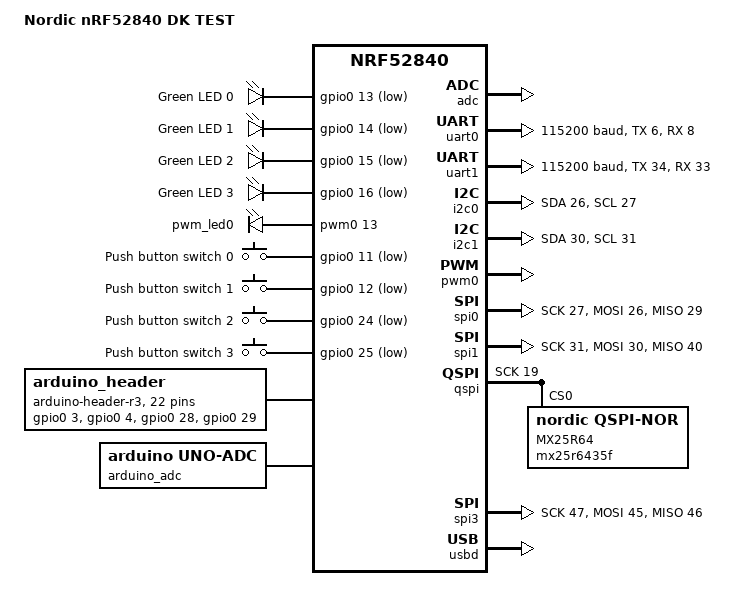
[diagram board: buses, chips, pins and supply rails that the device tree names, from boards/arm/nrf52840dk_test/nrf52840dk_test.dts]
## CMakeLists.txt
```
# SPDX-License-Identifier: Apache-2.0

cmake_minimum_required(VERSION 3.13.1)

list(APPEND BOARD_ROOT ${CMAKE_CURRENT_SOURCE_DIR})
list (APPEND DTS_ROOT ${CMAKE_CURRENT_SOURCE_DIR})
list (APPEND SOC_ROOT ${CMAKE_CURRENT_SOURCE_DIR})

find_package(Zephyr REQUIRED HINTS $ENV{ZEPHYR_BASE})
project(hello_world)

target_sources(app PRIVATE src/main.c)
```

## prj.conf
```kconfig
#copy from the at_client example here


# General config
CONFIG_ASSERT=y
CONFIG_SERIAL=y
```

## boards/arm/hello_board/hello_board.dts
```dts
/*
 * Copyright (c) 2018-2020 Nordic Semiconductor ASA
 *
 * SPDX-License-Identifier: Apache-2.0
 */

/dts-v1/;
#include <nordic/nrf9160_sica.dtsi>
#include "hello_board_common.dts"

/ {
	chosen {
		zephyr,sram = &sram0_s;
		zephyr,flash = &flash0;
		zephyr,code-partition = &slot0_partition;
		zephyr,sram-secure-partition = &sram0_s;
		zephyr,sram-non-secure-partition = &sram0_ns;
	};
};
```

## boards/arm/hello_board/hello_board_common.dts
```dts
/*
 * Copyright (c) 2018-2020 Nordic Semiconductor ASA
 *
 * SPDX-License-Identifier: Apache-2.0
 */

/ {
	model = "Nordic nRF9160 DK NRF9160";
	compatible = "nordic,hello_board";

	chosen {
		zephyr,console = &uart0;
		zephyr,shell-uart = &uart0;
		zephyr,uart-mcumgr = &uart0;
	};

	leds {
		compatible = "gpio-leds";
		led0: led_0 {
			gpios = <&gpio0 2 0>;
			label = "Green LED 1";
		};
		led1: led_1 {
			gpios = <&gpio0 3 0>;
			label = "Green LED 2";
		};
		led2: led_2 {
			gpios = <&gpio0 4 0>;
			label = "Green LED 3";
		};
		led3: led_3 {
			gpios = <&gpio0 5 0>;
			label = "Green LED 4";
		};
	};

	pwmleds {
		compatible = "pwm-leds";
		pwm_led0: pwm_led_0 {
			pwms = <&pwm0 2>;
		};
	};

	buttons {
		compatible = "gpio-keys";
		button0: button_0 {
			gpios = <&gpio0 8 (GPIO_PULL_UP | GPIO_ACTIVE_LOW)>;
			label = "Switch 1";
		};
		button1: button_1 {
			gpios = <&gpio0 9 (GPIO_PULL_UP | GPIO_ACTIVE_LOW)>;
			label = "Switch 2";
		};
		button2: button_2 {
			gpios = <&gpio0 6 (GPIO_PULL_UP | GPIO_ACTIVE_LOW)>;
			label = "Push button 1";
		};
		button3: button_3 {
			gpios = <&gpio0 7 (GPIO_PULL_UP | GPIO_ACTIVE_LOW)>;
			label = "Push button 2";
		};
	};

	/* These aliases are provided for compatibility with samples */
	aliases {
		led0 = &led0;
		led1 = &led1;
		led2 = &led2;
		led3 = &led3;
		pwm-led0 = &pwm_led0;
		sw0 = &button2;
		sw1 = &button3;
		sw2 = &button0;
		sw3 = &button1;
	};
};

&adc {
	status = "okay";
};

&gpiote {
	status = "okay";
};

&gpio0 {
	status = "okay";
};

&uart0 {
	status = "okay";
	current-speed = <115200>;
	tx-pin = <1>;
	rx-pin = <0>;
	rts-pin = <27>;
	cts-pin = <26>;
};

&uart1 {
	status = "okay";
	current-speed = <115200>;
	tx-pin = <29>;
	rx-pin = <28>;
	rts-pin = <14>;
	cts-pin = <15>;
};

&uart2 {
	tx-pin = <24>;
	rx-pin = <23>;
};

&i2c2 {
	compatible = "nordic,nrf-twim";
	status = "okay";
	sda-pin = <30>;
	scl-pin = <31>;
};

&pwm0 {
	status = "okay";
	ch0-pin = <2>;
};

&spi3 {
	compatible = "nordic,nrf-spim";
	status = "okay";
	sck-pin = <19>;
	mosi-pin = <18>;
	miso-pin = <17>;
};

&timer0 {
	status = "okay";
};

&timer1 {
	status = "okay";
};

&timer2 {
	status = "okay";
};

&flash0 {
	/*
	 * For more information, see:
	 * https://docs.zephyrproject.org/latest/guides/dts/legacy-macros.html#legacy-flash-partitions
	 */
	partitions {
		compatible = "fixed-partitions";
		#address-cells = <1>;
		#size-cells = <1>;

		boot_partition: partition@0 {
			label = "mcuboot";
			reg = <0x00000000 0x10000>;
		};
		slot0_partition: partition@10000 {
			label = "image-0";
		};
		slot0_ns_partition: partition@50000 {
			label = "image-0-nonsecure";
		};
		slot1_partition: partition@80000 {
			label = "image-1";
		};
		slot1_ns_partition: partition@c0000 {
			label = "image-1-nonsecure";
		};
		scratch_partition: partition@f0000 {
			label = "image-scratch";
			reg = <0x000f0000 0xa000>;
		};
		storage_partition: partition@fa000 {
			label = "storage";
			reg = <0x000fa000 0x00006000>;
		};
	};
};

/ {

	reserved-memory {
		#address-cells = <1>;
		#size-cells = <1>;
		ranges;

		sram0_s: image_s@20000000 {
			/* Secure image memory */
		};

		sram0_bsd: image_bsd@20010000 {
			/* BSD (shared) memory */
		};

		sram0_ns: image_ns@20020000 {
			/* Non-Secure image memory */
		};
	};
};

/* Include partition configuration file */
#include "hello_board_partition_conf.dts"
```

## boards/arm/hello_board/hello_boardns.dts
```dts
/*
 * Copyright (c) 2018-2020 Nordic Semiconductor ASA
 *
 * SPDX-License-Identifier: Apache-2.0
 */

/dts-v1/;
#include <nordic/nrf9160ns_sica.dtsi>
#include "hello_board_common.dts"

/ {
	chosen {
		zephyr,flash = &flash0;
		zephyr,sram = &sram0_ns;
		zephyr,code-partition = &slot0_ns_partition;
	};
};
```

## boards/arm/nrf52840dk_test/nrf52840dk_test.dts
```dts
/*
 * Copyright (c) 2017 Linaro Limited
 *
 * SPDX-License-Identifier: Apache-2.0
 */

/dts-v1/;
#include <nordic/nrf52840_qiaa.dtsi>

/ {
	model = "Nordic nRF52840 DK TEST";
	compatible = "nordic,nrf52840-dk-test";

	chosen {
		zephyr,console = &uart0;
		zephyr,shell-uart = &uart0;
		zephyr,uart-mcumgr = &uart0;
		zephyr,bt-mon-uart = &uart0;
		zephyr,bt-c2h-uart = &uart0;
		zephyr,sram = &sram0;
		zephyr,flash = &flash0;
		zephyr,code-partition = &slot0_partition;
	};

	leds {
		compatible = "gpio-outputs";
		led0: led_0 {
			gpios = <&gpio0 13 GPIO_ACTIVE_LOW>;
			label = "Green LED 0";
		};
		led1: led_1 {
			gpios = <&gpio0 14 GPIO_ACTIVE_LOW>;
			label = "Green LED 1";
		};
		led2: led_2 {
			gpios = <&gpio0 15 GPIO_ACTIVE_LOW>;
			label = "Green LED 2";
		};
		led3: led_3 {
			gpios = <&gpio0 16 GPIO_ACTIVE_LOW>;
			label = "Green LED 3";
		};
	};

	pwmleds {
		compatible = "pwm-leds";
		pwm_led0: pwm_led_0 {
			pwms = <&pwm0 13>;
		};
	};

	buttons {
		compatible = "gpio-keys";
		button0: button_0 {
			gpios = <&gpio0 11 (GPIO_PULL_UP | GPIO_ACTIVE_LOW)>;
			label = "Push button switch 0";
		};
		button1: button_1 {
			gpios = <&gpio0 12 (GPIO_PULL_UP | GPIO_ACTIVE_LOW)>;
			label = "Push button switch 1";
		};
		button2: button_2 {
			gpios = <&gpio0 24 (GPIO_PULL_UP | GPIO_ACTIVE_LOW)>;
			label = "Push button switch 2";
		};
		button3: button_3 {
			gpios = <&gpio0 25 (GPIO_PULL_UP | GPIO_ACTIVE_LOW)>;
			label = "Push button switch 3";
		};
	};

	arduino_header: connector {
		compatible = "arduino-header-r3";
		#gpio-cells = <2>;
		gpio-map-mask = <0xffffffff 0xffffffc0>;
		gpio-map-pass-thru = <0 0x3f>;
		gpio-map = <0 0 &gpio0 3 0>,	/* A0 */
			   <1 0 &gpio0 4 0>,	/* A1 */
			   <2 0 &gpio0 28 0>,	/* A2 */
			   <3 0 &gpio0 29 0>,	/* A3 */
			   <4 0 &gpio0 30 0>,	/* A4 */
			   <5 0 &gpio0 31 0>,	/* A5 */
			   <6 0 &gpio1 1 0>,	/* D0 */
			   <7 0 &gpio1 2 0>,	/* D1 */
			   <8 0 &gpio1 3 0>,	/* D2 */
			   <9 0 &gpio1 4 0>,	/* D3 */
			   <10 0 &gpio1 5 0>,	/* D4 */
			   <11 0 &gpio1 6 0>,	/* D5 */
			   <12 0 &gpio1 7 0>,	/* D6 */
			   <13 0 &gpio1 8 0>,	/* D7 */
			   <14 0 &gpio1 10 0>,	/* D8 */
			   <15 0 &gpio1 11 0>,	/* D9 */
			   <16 0 &gpio1 12 0>,	/* D10 */
			   <17 0 &gpio1 13 0>,	/* D11 */
			   <18 0 &gpio1 14 0>,	/* D12 */
			   <19 0 &gpio1 15 0>,	/* D13 */
			   <20 0 &gpio0 26 0>,	/* D14 */
			   <21 0 &gpio0 27 0>;	/* D15 */
	};

	arduino_adc: analog-connector {
		compatible = "arduino,uno-adc";
		#io-channel-cells = <1>;
		io-channel-map = <0 &adc 1>,	/* A0 = P0.3 = AIN1 */
				 <1 &adc 2>,	/* A1 = P0.4 = AIN2 */
				 <2 &adc 4>,	/* A2 = P0.28 = AIN4 */
				 <3 &adc 5>,	/* A3 = P0.29 = AIN5 */
				 <4 &adc 6>,	/* A4 = P0.30 = AIN6 */
				 <5 &adc 7>;	/* A5 = P0.31 = AIN7 */
	};

	/* These aliases are provided for compatibility with samples */
	aliases {
		led0 = &led0;
		led1 = &led1;
		led2 = &led2;
		led3 = &led3;
		pwm-led0 = &pwm_led0;
		sw0 = &button0;
		sw1 = &button1;
		sw2 = &button2;
		sw3 = &button3;
	};
};

&adc {
	status = "okay";
};

&gpiote {
	status = "okay";
};

&gpio0 {
	status = "okay";
};

&gpio1 {
	status = "okay";
};

&uart0 {
	compatible = "nordic,nrf-uarte";
	status = "okay";
	current-speed = <115200>;
	tx-pin = <6>;
	rx-pin = <8>;
	rts-pin = <5>;
	cts-pin = <7>;
};

arduino_serial: &uart1 {
	status = "okay";
	current-speed = <115200>;
	rx-pin = <33>;
	tx-pin = <34>;
};

arduino_i2c: &i2c0 {
	compatible = "nordic,nrf-twi";
	status = "okay";
	sda-pin = <26>;
	scl-pin = <27>;
};

&i2c1 {
	compatible = "nordic,nrf-twi";
	/* Cannot be used together with spi1. */
	/* status = "okay"; */
	sda-pin = <30>;
	scl-pin = <31>;
};

&pwm0 {
	status = "okay";
	ch0-pin = <13>;
	ch0-inverted;
};

&spi0 {
	compatible = "nordic,nrf-spi";
	/* Cannot be used together with i2c0. */
	/* status = "okay"; */
	sck-pin = <27>;
	mosi-pin = <26>;
	miso-pin = <29>;
};

&spi1 {
	compatible = "nordic,nrf-spi";
	status = "okay";
	sck-pin = <31>;
	mosi-pin = <30>;
	miso-pin = <40>;
};

&spi2 {
	compatible = "nordic,nrf-spi";
	status = "disabled";
	sck-pin = <19>;
	mosi-pin = <20>;
	miso-pin = <21>;
};

&qspi {
	status = "okay";
	sck-pin = <19>;
	io-pins = <20>, <21>, <22>, <23>;
	csn-pins = <17>;
	mx25r64: mx25r6435f@0 {
		compatible = "nordic,qspi-nor";
		reg = <0>;
		/* MX24R64 supports only pp and pp4io */
		writeoc = "pp4io";
		/* MX24R64 supports all readoc options */
		readoc = "read4io";
		sck-frequency = <8000000>;
		label = "MX25R64";
		jedec-id = [c2 28 17];
		sfdp-bfp = [
			e5 20 f1 ff  ff ff ff 03  44 eb 08 6b  08 3b 04 bb
			ee ff ff ff  ff ff 00 ff  ff ff 00 ff  0c 20 0f 52
			10 d8 00 ff  23 72 f5 00  82 ed 04 cc  44 83 68 44
			30 b0 30 b0  f7 c4 d5 5c  00 be 29 ff  f0 d0 ff ff
		];
		size = <67108864>;
		has-dpd;
		t-enter-dpd = <10000>;
		t-exit-dpd = <35000>;
	};
};

arduino_spi: &spi3 {
	status = "okay";
	sck-pin = <47>;
	miso-pin = <46>;
	mosi-pin = <45>;
	cs-gpios = <&arduino_header 16 GPIO_ACTIVE_LOW>; /* D10 */
};

&flash0 {

	partitions {
		compatible = "fixed-partitions";
		#address-cells = <1>;
		#size-cells = <1>;

		boot_partition: partition@0 {
			label = "mcuboot";
			reg = <0x000000000 0x0000C000>;
		};
		slot0_partition: partition@c000 {
			label = "image-0";
			reg = <0x0000C000 0x00067000>;
		};
		slot1_partition: partition@73000 {
			label = "image-1";
			reg = <0x00073000 0x00067000>;
		};
		scratch_partition: partition@da000 {
			label = "image-scratch";
			reg = <0x000da000 0x0001e000>;
		};

		/*
		 * The flash starting at 0x000f8000 and ending at
		 * 0x000fffff is reserved for use by the application.
		 */

		/*
		 * Storage partition will be used by FCB/LittleFS/NVS
		 * if enabled.
		 */
		storage_partition: partition@f8000 {
			label = "storage";
			reg = <0x000f8000 0x00008000>;
		};
	};
};

&usbd {
	compatible = "nordic,nrf-usbd";
	status = "okay";
};
```

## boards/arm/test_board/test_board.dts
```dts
/*
 * Copyright (c) 2018-2020 Nordic Semiconductor ASA
 *
 * SPDX-License-Identifier: Apache-2.0
 */

/dts-v1/;
#include <nordic/nrf9160_sica.dtsi>
#include "test_board_common.dts"

/ {
	chosen {
		zephyr,sram = &sram0_s;
		zephyr,flash = &flash0;
		zephyr,code-partition = &slot0_partition;
		zephyr,sram-secure-partition = &sram0_s;
		zephyr,sram-non-secure-partition = &sram0_ns;
	};
};
```

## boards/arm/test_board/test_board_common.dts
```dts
/*
 * Copyright (c) 2018-2020 Nordic Semiconductor ASA
 *
 * SPDX-License-Identifier: Apache-2.0
 */

/ {
	model = "test_board NRF9160";
	compatible = "nordic,test_board";

	chosen {
		zephyr,console = &uart0;
		zephyr,shell-uart = &uart0;
		zephyr,uart-mcumgr = &uart0;
	};

	leds {
		compatible = "gpio-leds";
		led0: led_0 {
			gpios = <&gpio0 2 0>;
			label = "Green LED 1";
		};
		led1: led_1 {
			gpios = <&gpio0 3 0>;
			label = "Green LED 2";
		};
		led2: led_2 {
			gpios = <&gpio0 4 0>;
			label = "Green LED 3";
		};
		led3: led_3 {
			gpios = <&gpio0 5 0>;
			label = "Green LED 4";
		};
	};

	pwmleds {
		compatible = "pwm-leds";
		pwm_led0: pwm_led_0 {
			pwms = <&pwm0 2>;
		};
	};

	buttons {
		compatible = "gpio-keys";
		button0: button_0 {
			gpios = <&gpio0 8 (GPIO_PULL_UP | GPIO_ACTIVE_LOW)>;
			label = "Switch 1";
		};
		button1: button_1 {
			gpios = <&gpio0 9 (GPIO_PULL_UP | GPIO_ACTIVE_LOW)>;
			label = "Switch 2";
		};
		button2: button_2 {
			gpios = <&gpio0 6 (GPIO_PULL_UP | GPIO_ACTIVE_LOW)>;
			label = "Push button 1";
		};
		button3: button_3 {
			gpios = <&gpio0 7 (GPIO_PULL_UP | GPIO_ACTIVE_LOW)>;
			label = "Push button 2";
		};
	};

	/* These aliases are provided for compatibility with samples */
	aliases {
		led0 = &led0;
		led1 = &led1;
		led2 = &led2;
		led3 = &led3;
		pwm-led0 = &pwm_led0;
		sw0 = &button2;
		sw1 = &button3;
		sw2 = &button0;
		sw3 = &button1;
	};
};

&adc {
	status = "okay";
};

&gpiote {
	status = "okay";
};

&gpio0 {
	status = "okay";
};

&uart0 {
	status = "okay";
	current-speed = <115200>;
	tx-pin = <1>;
	rx-pin = <0>;
	rts-pin = <27>;
	cts-pin = <26>;
};

&uart1 {
	status = "okay";
	current-speed = <115200>;
	tx-pin = <29>;
	rx-pin = <28>;
	rts-pin = <14>;
	cts-pin = <15>;
};

&uart2 {
	tx-pin = <24>;
	rx-pin = <23>;
};

&i2c2 {
	compatible = "nordic,nrf-twim";
	status = "okay";
	sda-pin = <30>;
	scl-pin = <31>;
};

&pwm0 {
	status = "okay";
	ch0-pin = <2>;
};

&spi3 {
	compatible = "nordic,nrf-spim";
	status = "okay";
	sck-pin = <19>;
	mosi-pin = <18>;
	miso-pin = <17>;
};

&timer0 {
	status = "okay";
};

&timer1 {
	status = "okay";
};

&timer2 {
	status = "okay";
};

&flash0 {
	/*
	 * For more information, see:
	 * https://docs.zephyrproject.org/latest/guides/dts/legacy-macros.html#legacy-flash-partitions
	 */
	partitions {
		compatible = "fixed-partitions";
		#address-cells = <1>;
		#size-cells = <1>;

		boot_partition: partition@0 {
			label = "mcuboot";
			reg = <0x00000000 0x10000>;
		};
		slot0_partition: partition@10000 {
			label = "image-0";
		};
		slot0_ns_partition: partition@50000 {
			label = "image-0-nonsecure";
		};
		slot1_partition: partition@80000 {
			label = "image-1";
		};
		slot1_ns_partition: partition@c0000 {
			label = "image-1-nonsecure";
		};
		scratch_partition: partition@f0000 {
			label = "image-scratch";
			reg = <0x000f0000 0xa000>;
		};
		storage_partition: partition@fa000 {
			label = "storage";
			reg = <0x000fa000 0x00006000>;
		};
	};
};

/ {

	reserved-memory {
		#address-cells = <1>;
		#size-cells = <1>;
		ranges;

		sram0_s: image_s@20000000 {
			/* Secure image memory */
		};

		sram0_bsd: image_bsd@20010000 {
			/* BSD (shared) memory */
		};

		sram0_ns: image_ns@20020000 {
			/* Non-Secure image memory */
		};
	};
};

/* Include partition configuration file */
#include "test_board_partition_conf.dts"
```

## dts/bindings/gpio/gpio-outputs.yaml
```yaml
# Copyright (c) 2018, Linaro Limited
# SPDX-License-Identifier: Apache-2.0

description: GPIO outputs parent node

compatible: "gpio-outputs"

child-binding:
    description: GPIO output child node
    properties:
       gpios:
          type: phandle-array
          required: true
       label:
          required: true
          type: string
          description: Human readable string describing the device (used as device_get_binding() argument)
```

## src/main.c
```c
/*
 * Copyright (c) 2012-2014 Wind River Systems, Inc.
 *
 * SPDX-License-Identifier: Apache-2.0
 */

#include <zephyr.h>

#include <sys/printk.h>

void main(void)
{
	printk("Hello World! %s\n", CONFIG_BOARD);
}
```
